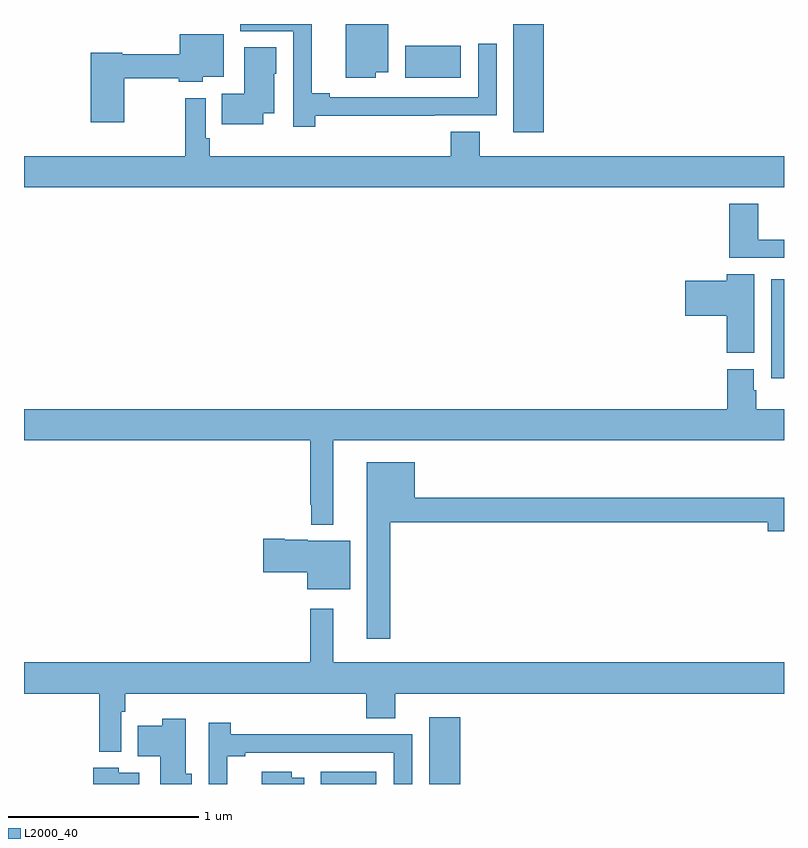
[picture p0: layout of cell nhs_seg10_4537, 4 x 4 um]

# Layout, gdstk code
import gdstk
lib = gdstk.Library(unit=1e-6, precision=1e-09)
def R(c, l, rs):  # rectangles x0, y0, x1, y1
    for r in rs: c.add(gdstk.rectangle(r[:2], r[2:], *l))
def P(c, l, *ps):  # polygons
    for p in ps: c.add(gdstk.Polygon(p, *l))
L2000_40 = (2000, 40)

nhs_seg10_4537 = lib.new_cell('nhs_seg10_4537')
R(nhs_seg10_4537, L2000_40, [(370.562,1306.5,370.855,1306.564), (371.132,1306.5,371.296,1306.852), (372.932,1308.636,373,1309.156), (371.576,1309.929,371.735,1310.5), (371.006,1310.216,371.299,1310.386)])
P(nhs_seg10_4537, L2000_40, [(370.532,1310.018),(371.162,1310.018),(371.162,1310.019),(371.487,1310.019),(371.487,1310.395),(371.391,1310.395),(371.391,1310.115),(370.609,1310.115),(370.609,1310.135),(370.514,1310.135),(370.514,1310.5),(370.139,1310.5),(370.139,1310.463),(370.416,1310.463),(370.416,1309.959),(370.532,1309.959)],
  [(370.852,1310.246),(370.918,1310.246),(370.918,1310.5),(370.694,1310.5),(370.694,1310.216),(370.852,1310.216)],
  [(369.528,1310.214),(369.814,1310.214),(369.814,1310.195),(369.942,1310.195),(369.942,1310.222),(370.051,1310.222),(370.051,1310.446),(369.821,1310.446),(369.821,1310.342),(369.516,1310.342),(369.516,1310.35),(369.35,1310.35),(369.35,1309.983),(369.528,1309.983)],
  [(370.258,1310.03),(370.318,1310.03),(370.318,1310.238),(370.327,1310.238),(370.327,1310.378),(370.16,1310.378),(370.16,1310.134),(370.042,1310.134),(370.042,1309.973),(370.258,1309.973)],
  [(373,1309.804),(371.398,1309.804),(371.398,1309.934),(371.246,1309.934),(371.246,1309.804),(369.977,1309.804),(369.977,1309.9),(369.957,1309.9),(369.957,1310.11),(369.849,1310.11),(369.849,1309.804),(369,1309.804),(369,1309.64),(373,1309.64)],
  [(373,1309.365),(372.865,1309.365),(372.865,1309.555),(372.713,1309.555),(372.713,1309.269),(373,1309.269)],
  [(372.844,1309.184),(372.698,1309.184),(372.698,1309.148),(372.48,1309.148),(372.48,1308.965),(372.698,1308.965),(372.698,1308.769),(372.844,1308.769)],
  [(370.627,1308.308),(373,1308.308),(373,1308.472),(372.854,1308.472),(372.854,1308.573),(372.841,1308.573),(372.841,1308.684),(372.701,1308.684),(372.701,1308.472),(369,1308.472),(369,1308.308),(370.506,1308.308),(370.506,1307.971),(370.513,1307.971),(370.513,1307.864),(370.627,1307.864)],
  [(370.927,1307.878),(372.914,1307.878),(372.914,1307.831),(373,1307.831),(373,1308.007),(371.056,1308.007),(371.056,1308.193),(370.805,1308.193),(370.805,1307.265),(370.927,1307.265)],
  [(370.717,1307.779),(370.494,1307.779),(370.494,1307.785),(370.372,1307.785),(370.372,1307.792),(370.26,1307.792),(370.26,1307.614),(370.49,1307.614),(370.49,1307.525),(370.717,1307.525)],
  [(369.513,1306.88),(369.533,1306.88),(369.533,1306.976),(370.802,1306.976),(370.802,1306.846),(370.954,1306.846),(370.954,1306.976),(373,1306.976),(373,1307.14),(370.627,1307.14),(370.627,1307.422),(370.506,1307.422),(370.506,1307.14),(369,1307.14),(369,1306.976),(369.397,1306.976),(369.397,1306.67),(369.513,1306.67)],
  [(369.883,1306.554),(369.85,1306.554),(369.85,1306.843),(369.728,1306.843),(369.728,1306.807),(369.598,1306.807),(369.598,1306.646),(369.716,1306.646),(369.716,1306.5),(369.883,1306.5)],
  [(370.07,1306.645),(370.165,1306.645),(370.165,1306.665),(370.947,1306.665),(370.947,1306.5),(371.043,1306.5),(371.043,1306.761),(370.718,1306.761),(370.718,1306.763),(370.088,1306.763),(370.088,1306.822),(369.972,1306.822),(369.972,1306.5),(370.07,1306.5)],
  [(369.607,1306.558),(369.498,1306.558),(369.498,1306.585),(369.365,1306.585),(369.365,1306.5),(369.607,1306.5)],
  [(370.474,1306.534),(370.408,1306.534),(370.408,1306.564),(370.25,1306.564),(370.25,1306.5),(370.474,1306.5)])

lib.write_gds('nhs_seg10_4537.gds')
